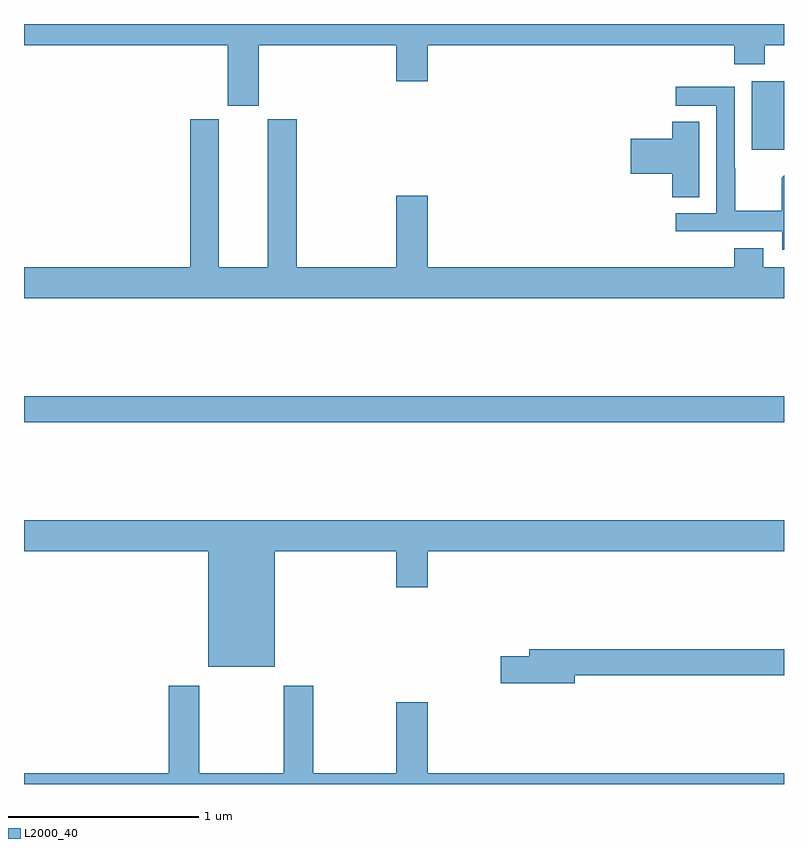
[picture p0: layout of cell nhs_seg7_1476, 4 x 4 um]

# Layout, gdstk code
import gdstk
lib = gdstk.Library(unit=1e-6, precision=1e-09)
def R(c, l, rs):  # rectangles x0, y0, x1, y1
    for r in rs: c.add(gdstk.rectangle(r[:2], r[2:], *l))
def P(c, l, *ps):  # polygons
    for p in ps: c.add(gdstk.Polygon(p, *l))
L2000_40 = (2000, 40)

nhs_seg7_1476 = lib.new_cell('nhs_seg7_1476')
R(nhs_seg7_1476, L2000_40, [(211,1059.904,215,1060.04), (214.829,1061.337,215,1061.698)])
P(nhs_seg7_1476, L2000_40, [(211,1061.888),(212.072,1061.888),(212.072,1061.571),(212.236,1061.571),(212.236,1061.888),(212.96,1061.888),(212.96,1061.7),(213.124,1061.7),(213.124,1061.888),(214.739,1061.888),(214.739,1061.789),(214.899,1061.789),(214.899,1061.888),(215,1061.888),(215,1062),(211,1062)],
  [(215,1061.204),(214.987,1061.191),(214.987,1061.017),(214.743,1061.017),(214.743,1061.24),(214.74,1061.24),(214.74,1061.67),(214.431,1061.67),(214.431,1061.571),(214.644,1061.571),(214.644,1061.004),(214.431,1061.004),(214.431,1060.908),(214.992,1060.908),(214.992,1060.811),(215,1060.811)],
  [(215,1060.72),(214.891,1060.72),(214.891,1060.819),(214.739,1060.819),(214.739,1060.72),(213.124,1060.72),(213.124,1061.095),(212.96,1061.095),(212.96,1060.72),(212.435,1060.72),(212.435,1061.499),(212.282,1061.499),(212.282,1060.72),(212.026,1060.72),(212.026,1061.499),(211.874,1061.499),(211.874,1060.72),(211,1060.72),(211,1060.556),(215,1060.556)],
  [(214.555,1061.486),(214.412,1061.486),(214.412,1061.396),(214.194,1061.396),(214.194,1061.213),(214.412,1061.213),(214.412,1061.089),(214.555,1061.089)],
  [(212.32,1059.224),(212.96,1059.224),(212.96,1059.036),(213.124,1059.036),(213.124,1059.224),(215,1059.224),(215,1059.388),(211,1059.388),(211,1059.224),(211.97,1059.224),(211.97,1058.618),(212.32,1058.618)],
  [(213.898,1058.572),(215,1058.572),(215,1058.708),(213.659,1058.708),(213.659,1058.672),(213.51,1058.672),(213.51,1058.53),(213.898,1058.53)],
  [(215,1058.056),(213.124,1058.056),(213.124,1058.431),(212.96,1058.431),(212.96,1058.056),(212.523,1058.056),(212.523,1058.518),(212.368,1058.518),(212.368,1058.056),(211.923,1058.056),(211.923,1058.518),(211.763,1058.518),(211.763,1058.056),(211,1058.056),(211,1058),(215,1058)])

lib.write_gds('nhs_seg7_1476.gds')
